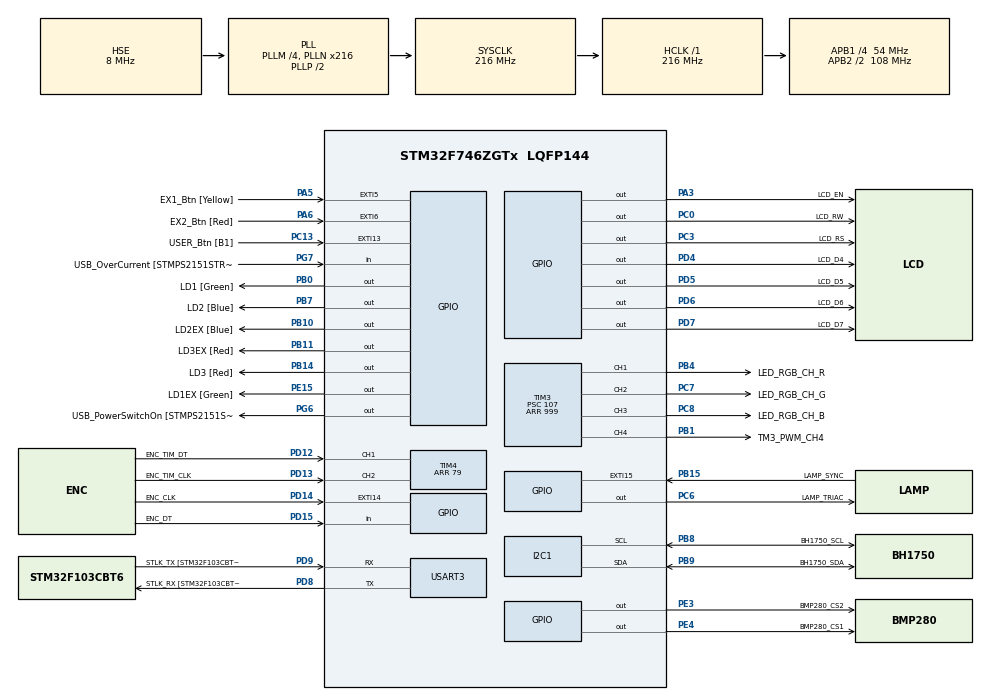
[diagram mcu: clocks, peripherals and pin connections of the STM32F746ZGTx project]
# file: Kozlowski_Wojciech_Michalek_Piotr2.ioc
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I2C1.Timing=0x20404768
Mcu.Family=STM32F7
Mcu.Name=STM32F746ZGTx
Mcu.Package=LQFP144
NVIC.EXTI15_10_IRQn=true\:0\:0\:false\:false\:true\:true\:true
NVIC.EXTI9_5_IRQn=true\:0\:0\:false\:false\:true\:true\:true
NVIC.PriorityGroup=NVIC_PRIORITYGROUP_4
NVIC.TIM2_IRQn=true\:0\:0\:false\:false\:true\:true\:true
NVIC.USART3_IRQn=true\:0\:0\:false\:false\:true\:true\:true
PA1.GPIO_Label=RMII_REF_CLK [LAN8742A-CZ-TR_REFCLK0]
PA1.Signal=ETH_REF_CLK
PA10.GPIO_Label=USB_ID
PA10.Signal=USB_OTG_FS_ID
PA11.GPIO_Label=USB_DM
PA11.Signal=USB_OTG_FS_DM
PA12.GPIO_Label=USB_DP
PA12.Signal=USB_OTG_FS_DP
PA13.GPIO_Label=TMS
PA13.Mode=Serial_Wire
PA13.Signal=SYS_JTMS-SWDIO
PA14.GPIO_Label=TCK
PA14.Mode=Serial_Wire
PA14.Signal=SYS_JTCK-SWCLK
PA2.GPIO_Label=RMII_MDIO [LAN8742A-CZ-TR_MDIO]
PA2.Signal=ETH_MDIO
PA3.GPIO_Label=LCD_EN
PA3.Signal=GPIO_Output
PA5.GPIO_Label=EX1_Btn [Yellow]
PA5.GPIO_ModeDefaultEXTI=GPIO_MODE_IT_FALLING
PA5.Signal=GPXTI5
PA6.GPIO_Label=EX2_Btn [Red]
PA6.GPIO_ModeDefaultEXTI=GPIO_MODE_IT_RISING
PA6.Signal=GPXTI6
PA8.GPIO_Label=USB_SOF [TP1]
PA8.Signal=USB_OTG_FS_SOF
PA9.GPIO_Label=USB_VBUS
PA9.Signal=USB_OTG_FS_VBUS
PB0.GPIO_Label=LD1 [Green]
PB0.Signal=GPIO_Output
PB1.GPIO_Label=TM3_PWM_CH4
PB1.Signal=S_TIM3_CH4
PB10.GPIO_Label=LD2EX [Blue]
PB10.Signal=GPIO_Output
PB11.GPIO_Label=LD3EX [Red]
PB11.Signal=GPIO_Output
PB13.GPIO_Label=RMII_TXD1 [LAN8742A-CZ-TR_TXD1]
PB13.Signal=ETH_TXD1
PB14.GPIO_Label=LD3 [Red]
PB14.Signal=GPIO_Output
PB15.GPIO_Label=LAMP_SYNC
PB15.Signal=GPXTI15
PB3.GPIO_Label=SW0
PB3.Signal=SYS_JTDO-SWO
PB4.GPIO_Label=LED_RGB_CH_R
PB4.Signal=S_TIM3_CH1
PB7.GPIO_Label=LD2 [Blue]
PB7.Signal=GPIO_Output
PB8.GPIO_Label=BH1750_SCL
PB8.Mode=I2C
PB8.Signal=I2C1_SCL
PB9.GPIO_Label=BH1750_SDA
PB9.Mode=I2C
PB9.Signal=I2C1_SDA
PC0.GPIO_Label=LCD_RW
PC0.Signal=GPIO_Output
PC1.GPIO_Label=RMII_MDC [LAN8742A-CZ-TR_MDC]
PC1.Signal=ETH_MDC
PC13.GPIO_Label=USER_Btn [B1]
PC13.Signal=GPXTI13
PC14/OSC32_IN.Mode=LSE-External-Oscillator
PC14/OSC32_IN.Signal=RCC_OSC32_IN
PC15/OSC32_OUT.Mode=LSE-External-Oscillator
PC15/OSC32_OUT.Signal=RCC_OSC32_OUT
PC3.GPIO_Label=LCD_RS
PC3.Signal=GPIO_Output
PC4.GPIO_Label=RMII_RXD0 [LAN8742A-CZ-TR_RXD0]
PC4.Signal=ETH_RXD0
PC5.GPIO_Label=RMII_RXD1 [LAN8742A-CZ-TR_RXD1]
PC5.Signal=ETH_RXD1
PC6.GPIO_Label=LAMP_TRIAC
PC6.GPIO_Speed=GPIO_SPEED_FREQ_HIGH
PC6.Signal=GPIO_Output
PC7.GPIO_Label=LED_RGB_CH_G
PC7.Signal=S_TIM3_CH2
PC8.GPIO_Label=LED_RGB_CH_B
PC8.Signal=S_TIM3_CH3
PD12.GPIO_Label=ENC_TIM_DT
PD12.Signal=S_TIM4_CH1
PD13.GPIO_Label=ENC_TIM_CLK
PD13.Signal=S_TIM4_CH2
PD14.GPIO_Label=ENC_CLK
PD14.GPIO_ModeDefaultEXTI=GPIO_MODE_IT_FALLING
PD14.Signal=GPXTI14
PD15.GPIO_Label=ENC_DT
PD15.Signal=GPIO_Input
PD4.GPIO_Label=LCD_D4
PD4.Signal=GPIO_Output
PD5.GPIO_Label=LCD_D5
PD5.Signal=GPIO_Output
PD6.GPIO_Label=LCD_D6
PD6.Signal=GPIO_Output
PD7.GPIO_Label=LCD_D7
PD7.Signal=GPIO_Output
PD8.GPIO_Label=STLK_RX [STM32F103CBT6_PA3]
PD8.Mode=Asynchronous
PD8.Signal=USART3_TX
PD9.GPIO_Label=STLK_TX [STM32F103CBT6_PA2]
PD9.Mode=Asynchronous
PD9.Signal=USART3_RX
PE15.GPIO_Label=LD1EX [Green]
PE15.Signal=GPIO_Output
PE2.GPIO_Label=BMP280_SCK
PE2.Signal=SPI4_SCK
PE3.GPIO_Label=BMP280_CS2
PE3.GPIO_Speed=GPIO_SPEED_FREQ_VERY_HIGH
PE3.PinState=GPIO_PIN_SET
PE3.Signal=GPIO_Output
PE4.GPIO_Label=BMP280_CS1
PE4.GPIO_Speed=GPIO_SPEED_FREQ_VERY_HIGH
PE4.PinState=GPIO_PIN_SET
PE4.Signal=GPIO_Output
PE5.GPIO_Label=BMP280_MISO
PE5.Signal=SPI4_MISO
PE6.GPIO_Label=BMP280_MOSI
PE6.Signal=SPI4_MOSI
PG11.GPIO_Label=RMII_TX_EN [LAN8742A-CZ-TR_TXEN]
PG11.Signal=ETH_TX_EN
PG13.GPIO_Label=RMII_TXD0 [LAN8742A-CZ-TR_TXD0]
PG13.Signal=ETH_TXD0
PG6.GPIO_Label=USB_PowerSwitchOn [STMPS2151STR_EN]
PG6.Signal=GPIO_Output
PG7.GPIO_Label=USB_OverCurrent [STMPS2151STR_FAULT]
PG7.Signal=GPIO_Input
PH0/OSC_IN.GPIO_Label=MCO [STM32F103CBT6_PA8]
PH0/OSC_IN.Mode=HSE-External-Clock-Source
PH0/OSC_IN.Signal=RCC_OSC_IN
PH1/OSC_OUT.Mode=HSE-External-Clock-Source
PH1/OSC_OUT.Signal=RCC_OSC_OUT
ProjectManager.HeapSize=0x200
ProjectManager.StackSize=0x400
ProjectManager.TargetToolchain=STM32CubeIDE
RCC.48MHZClocksFreq_Value=24000000
RCC.AHBFreq_Value=216000000
RCC.APB1CLKDivider=RCC_HCLK_DIV4
RCC.APB1Freq_Value=54000000
RCC.APB1TimFreq_Value=108000000
RCC.APB2CLKDivider=RCC_HCLK_DIV2
RCC.APB2Freq_Value=108000000
RCC.APB2TimFreq_Value=216000000
RCC.CortexFreq_Value=216000000
RCC.HCLKFreq_Value=216000000
RCC.HSE_VALUE=8000000
RCC.HSI_VALUE=16000000
RCC.PLLM=4
RCC.PLLMUL=RCC_PLL_MUL9
RCC.PLLN=216
RCC.PLLQ=3
RCC.PLLSourceVirtual=RCC_PLLSOURCE_HSE
RCC.PRESCALERUSB=RCC_USBCLKSOURCE_PLL_DIV1_5
RCC.SYSCLKFreq_VALUE=216000000
RCC.SYSCLKSource=RCC_SYSCLKSOURCE_PLLCLK
RCC.SYSCLKSourceVirtual=RCC_SYSCLKSOURCE_PLLCLK
RCC.USBFreq_Value=144000000
RCC.VCOOutputFreq_Value=432000000
SH.S_TIM3_CH1.0=TIM3_CH1,PWM Generation1 CH1
SH.S_TIM3_CH2.0=TIM3_CH2,PWM Generation2 CH2
SH.S_TIM3_CH3.0=TIM3_CH3,PWM Generation3 CH3
SH.S_TIM3_CH4.0=TIM3_CH4,PWM Generation4 CH4
SH.S_TIM4_CH1.0=TIM4_CH1,Encoder_Interface
SH.S_TIM4_CH2.0=TIM4_CH2,Encoder_Interface
TIM2.Period=4999
TIM2.Prescaler=107
TIM3.Channel-PWM\ Generation1\ CH1=TIM_CHANNEL_1
TIM3.Channel-PWM\ Generation2\ CH2=TIM_CHANNEL_2
TIM3.Channel-PWM\ Generation3\ CH3=TIM_CHANNEL_3
TIM3.Channel-PWM\ Generation4\ CH4=TIM_CHANNEL_4
TIM3.Period=999
TIM3.Prescaler=107
TIM3.Pulse-PWM\ Generation2\ CH2=0
TIM3.Pulse-PWM\ Generation3\ CH3=0
TIM4.EncoderMode=TIM_ENCODERMODE_TI12
TIM4.IC1Polarity=TIM_ICPOLARITY_FALLING
TIM4.IC2Polarity=TIM_ICPOLARITY_FALLING
TIM4.Period=79
USART3.VirtualMode-Asynchronous=VM_ASYNC
VP_TIM2_VS_ClockSourceINT.Mode=Internal
VP_TIM3_VS_ClockSourceINT.Mode=Internal
board=NUCLEO-F746ZG

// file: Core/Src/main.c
/* USER CODE BEGIN Header */
/**
  ******************************************************************************
  * @file           : main.c
  * @brief          : Main program body
  ******************************************************************************
  * @attention
  *
  * <h2><center>&copy; Copyright (c) 2020 STMicroelectronics.
  * All rights reserved.</center></h2>
  *
  * This software component is licensed by ST under BSD 3-Clause license,
  * the "License"; You may not use this file except in compliance with the
  * License. You may obtain a copy of the License at:
  *                        opensource.org/licenses/BSD-3-Clause
  *
  ******************************************************************************
  */
/* USER CODE END Header */
#include "main.h"
#include "i2c.h"
#include "tim.h"
#include "usart.h"
#include "gpio.h"

/* USER CODE BEGIN Includes */
#include "stdio.h"
#include "stdlib.h"
#include "light_sensor.h"
#include "terminal_comunication.h"
#include "encoder.h"

/* USER CODE END Includes */

void SystemClock_Config(void);

int main(void)
{
  /* USER CODE BEGIN 1 */
	int count;
	int user_val_encoder;
	int user_val_terminal;
	int val=0;
	int pwm=0;
	int regulator_period=0;

  /* USER CODE END 1 */

  /* MCU Configuration--------------------------------------------------------*/

  /* Reset of all peripherals, Initializes the Flash interface and the Systick. */
  HAL_Init();

  /* Configure the system clock */
  SystemClock_Config();

  /* Initialize all configured peripherals */
  MX_GPIO_Init();
  MX_USART3_UART_Init();
  MX_TIM2_Init();
  MX_TIM3_Init();
  MX_TIM4_Init();
  MX_I2C1_Init();
  /* USER CODE BEGIN 2 */
  HAL_TIM_PWM_Start(&htim3, TIM_CHANNEL_1);
  HAL_TIM_PWM_Start(&htim3, TIM_CHANNEL_2);
  HAL_TIM_PWM_Start(&htim3, TIM_CHANNEL_3);
  HAL_TIM_Encoder_Start(&htim4, TIM_CHANNEL_ALL);

  BH1750_Status = HAL_ERROR;
  BH1750_Status = sensor_init();

  trial_transmission=0;
  /* USER CODE END 2 */

  /* Infinite loop */
  /* USER CODE BEGIN WHILE */
  while (1)
  {
		count = __HAL_TIM_GET_COUNTER(&htim4);
		user_val_encoder=encoder_count(count);
		user_val_terminal=terminal_value();

		if(user_val_encoder>0)
		{
			val=user_val_encoder;
		}
		else if(user_val_terminal>0)
		{
			val=user_val_terminal;
		}

		if((val-val/100)>lux_int&&pwm<1000&&(abs(val-lux_int)*100/val>10&&regulator_period%1==0||abs(val-lux_int)*100/val<=10&&regulator_period%50==0))
		{
			pwm++;
		}
		else if((val+val/100)<lux_int&&pwm>0&&(abs(val-lux_int)*100/val>10&&regulator_period%1==0||abs(val-lux_int)*100/val<=10&&regulator_period%50==0))
		{
			pwm--;
		}

	  __HAL_TIM_SET_COMPARE(&htim3, TIM_CHANNEL_1 ,pwm);

	  HAL_UART_Receive_IT(&huart3, (uint8_t*)rx_buffer, 8);
	  BH1750_Status = sensor_read();
	  terminal_message(lux_int);

	  if(regulator_period>=2000)
	  {
		  regulator_period=0;
	  }
	  trial_transmission++;
	  regulator_period++;

	HAL_Delay(10);

    /* USER CODE END WHILE */

  }
}

void SystemClock_Config(void)
{
  RCC_OscInitTypeDef RCC_OscInitStruct = {0};
  RCC_ClkInitTypeDef RCC_ClkInitStruct = {0};
  RCC_PeriphCLKInitTypeDef PeriphClkInitStruct = {0};

  /** Configure LSE Drive Capability
  */
  HAL_PWR_EnableBkUpAccess();
  /** Configure the main internal regulator output voltage
  */
  __HAL_RCC_PWR_CLK_ENABLE();
  __HAL_PWR_VOLTAGESCALING_CONFIG(PWR_REGULATOR_VOLTAGE_SCALE1);
  /** Initializes the RCC Oscillators according to the specified parameters
  * in the RCC_OscInitTypeDef structure.
  */
  RCC_OscInitStruct.OscillatorType = RCC_OSCILLATORTYPE_HSE;
  RCC_OscInitStruct.HSEState = RCC_HSE_BYPASS;
  RCC_OscInitStruct.PLL.PLLState = RCC_PLL_ON;
  RCC_OscInitStruct.PLL.PLLSource = RCC_PLLSOURCE_HSE;
  RCC_OscInitStruct.PLL.PLLM = 4;
  RCC_OscInitStruct.PLL.PLLN = 216;
  RCC_OscInitStruct.PLL.PLLP = RCC_PLLP_DIV2;
  RCC_OscInitStruct.PLL.PLLQ = 3;
  if (HAL_RCC_OscConfig(&RCC_OscInitStruct) != HAL_OK)
  {
    Error_Handler();
  }
  /** Activate the Over-Drive mode
  */
  if (HAL_PWREx_EnableOverDrive() != HAL_OK)
  {
    Error_Handler();
  }
  /** Initializes the CPU, AHB and APB buses clocks
  */
  RCC_ClkInitStruct.ClockType = RCC_CLOCKTYPE_HCLK|RCC_CLOCKTYPE_SYSCLK
                              |RCC_CLOCKTYPE_PCLK1|RCC_CLOCKTYPE_PCLK2;
  RCC_ClkInitStruct.SYSCLKSource = RCC_SYSCLKSOURCE_PLLCLK;
  RCC_ClkInitStruct.AHBCLKDivider = RCC_SYSCLK_DIV1;
  RCC_ClkInitStruct.APB1CLKDivider = RCC_HCLK_DIV4;
  RCC_ClkInitStruct.APB2CLKDivider = RCC_HCLK_DIV2;

  if (HAL_RCC_ClockConfig(&RCC_ClkInitStruct, FLASH_LATENCY_7) != HAL_OK)
  {
    Error_Handler();
  }
  PeriphClkInitStruct.PeriphClockSelection = RCC_PERIPHCLK_USART3|RCC_PERIPHCLK_I2C1;
  PeriphClkInitStruct.Usart3ClockSelection = RCC_USART3CLKSOURCE_PCLK1;
  PeriphClkInitStruct.I2c1ClockSelection = RCC_I2C1CLKSOURCE_PCLK1;
  if (HAL_RCCEx_PeriphCLKConfig(&PeriphClkInitStruct) != HAL_OK)
  {
    Error_Handler();
  }
}

void Error_Handler(void)
{
}

/************************ (C) COPYRIGHT STMicroelectronics *****END OF FILE****/
